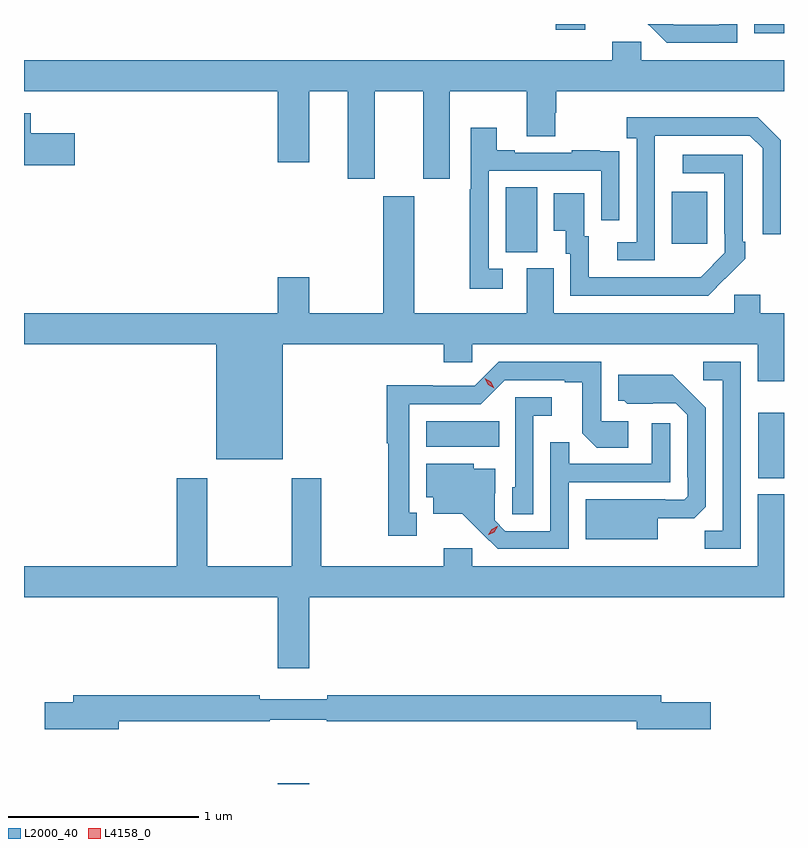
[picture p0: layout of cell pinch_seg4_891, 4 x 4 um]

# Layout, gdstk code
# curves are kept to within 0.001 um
import gdstk
lib = gdstk.Library(unit=1e-6, precision=1e-09)
def R(c, l, rs):  # rectangles x0, y0, x1, y1
    for r in rs: c.add(gdstk.rectangle(r[:2], r[2:], *l))
def P(c, l, *ps):  # polygons
    for p in ps: c.add(gdstk.Polygon(p, *l))
L2000_40 = (2000, 40)
L4158_0 = (4158, 0)

pinch_seg4_891 = lib.new_cell('pinch_seg4_891')
R(pinch_seg4_891, L2000_40, [(728.444,825.142,728.608,825.145), (730.973,826.751,731.108,827.095), (729.224,826.916,729.608,827.05), (729.644,827.941,729.808,828.284), (730.517,827.985,730.705,828.259), (730.952,829.094,731.108,829.142), (729.906,829.113,730.063,829.142)])
P(pinch_seg4_891, L2000_40, [(730.863,829.142),(730.767,829.142),(730.767,829.137),(730.53,829.137),(730.525,829.142),(730.391,829.142),(730.406,829.127),(730.49,829.044),(730.863,829.044)],
  [(728.953,828.788),(729.209,828.788),(729.209,828.327),(729.349,828.327),(729.349,828.788),(729.755,828.788),(729.755,828.55),(729.903,828.55),(729.903,828.675),(729.908,828.675),(729.908,828.788),(731.108,828.788),(731.108,828.952),(730.356,828.952),(730.356,829.048),(730.205,829.048),(730.205,828.952),(727.108,828.952),(727.108,828.788),(728.444,828.788),(728.444,828.414),(728.608,828.414),(728.608,828.788),(728.813,828.788),(728.813,828.327),(728.953,828.327)],
  [(727.375,828.568),(727.144,828.568),(727.144,828.673),(727.108,828.673),(727.108,828.398),(727.375,828.398)],
  [(730.428,828.355),(730.429,828.555),(730.929,828.555),(730.995,828.489),(730.995,828.036),(731.091,828.036),(731.091,828.531),(730.97,828.652),(730.281,828.652),(730.281,828.542),(730.332,828.542),(730.332,827.994),(730.23,827.994),(730.23,827.898),(730.428,827.898)],
  [(729.628,827.853),(729.555,827.853),(729.555,828.369),(730.146,828.369),(730.146,828.108),(730.242,828.108),(730.242,828.362),(730.241,828.362),(730.241,828.471),(730.139,828.471),(730.139,828.478),(729.991,828.478),(729.991,828.465),(729.691,828.465),(729.691,828.478),(729.595,828.478),(729.595,828.595),(729.459,828.595),(729.459,828.272),(729.454,828.272),(729.454,827.748),(729.628,827.748)],
  [(730.799,827.803),(730.8,827.802),(730.905,827.907),(730.905,827.995),(730.89,827.995),(730.89,828.453),(730.575,828.453),(730.575,828.357),(730.794,828.357),(730.794,828.037),(730.797,828.037),(730.797,827.937),(730.669,827.809),(730.081,827.808),(730.081,828.024),(730.057,828.024),(730.057,828.25),(729.896,828.25),(729.896,828.053),(729.959,828.053),(729.959,827.934),(729.984,827.934),(729.984,827.712),(730.708,827.712)],
  [(728.47,827.456),(729.317,827.456),(729.317,827.363),(729.468,827.363),(729.468,827.456),(730.97,827.456),(730.97,827.262),(731.108,827.262),(731.108,827.62),(730.984,827.62),(730.984,827.718),(730.845,827.718),(730.845,827.62),(729.895,827.62),(729.895,827.856),(729.755,827.856),(729.755,827.62),(729.163,827.62),(729.163,828.235),(728.999,828.235),(728.999,827.62),(728.608,827.62),(728.608,827.809),(728.444,827.809),(728.444,827.62),(727.108,827.62),(727.108,827.456),(728.12,827.456),(728.12,826.85),(728.47,826.85)],
  [(729.175,826.569),(729.136,826.569),(729.136,827.142),(729.513,827.142),(729.639,827.268),(729.953,827.268),(729.953,827.256),(730.047,827.256),(730.047,826.988),(730.123,826.912),(730.288,826.912),(730.288,827.052),(730.146,827.052),(730.146,827.364),(729.606,827.364),(729.48,827.238),(729.258,827.238),(729.258,827.24),(729.018,827.24),(729.018,826.935),(729.025,826.935),(729.025,826.449),(729.175,826.449)],
  [(730.881,827.364),(730.683,827.364),(730.683,827.268),(730.785,827.268),(730.785,826.475),(730.69,826.475),(730.69,826.38),(730.881,826.38)],
  [(730.444,826.541),(730.636,826.541),(730.695,826.6),(730.695,827.122),(730.523,827.296),(730.235,827.296),(730.235,827.16),(730.266,827.16),(730.282,827.144),(730.539,827.145),(730.599,827.085),(730.599,826.756),(730.602,826.756),(730.602,826.656),(730.584,826.638),(730.484,826.638),(730.484,826.642),(730.064,826.642),(730.064,826.43),(730.444,826.43)],
  [(729.789,827.081),(729.886,827.081),(729.886,827.178),(729.693,827.178),(729.693,826.704),(729.678,826.704),(729.678,826.561),(729.789,826.561)],
  [(729.975,826.731),(730.509,826.731),(730.509,827.041),(730.413,827.041),(730.413,826.827),(729.977,826.827),(729.977,826.94),(729.879,826.94),(729.879,826.473),(729.642,826.473),(729.585,826.53),(729.585,826.672),(729.589,826.672),(729.589,826.801),(729.474,826.801),(729.474,826.828),(729.224,826.828),(729.224,826.652),(729.263,826.652),(729.263,826.565),(729.415,826.565),(729.602,826.38),(729.975,826.38)],
  [(728.608,826.124),(731.108,826.124),(731.108,826.666),(730.97,826.666),(730.97,826.288),(729.468,826.288),(729.468,826.384),(729.317,826.384),(729.317,826.288),(728.673,826.288),(728.673,826.75),(728.518,826.75),(728.518,826.288),(728.073,826.288),(728.073,826.75),(727.913,826.75),(727.913,826.288),(727.108,826.288),(727.108,826.124),(728.444,826.124),(728.444,825.75),(728.608,825.75)],
  [(727.606,825.472),(728.402,825.472),(728.402,825.48),(728.702,825.48),(728.702,825.472),(730.334,825.472),(730.334,825.43),(730.723,825.43),(730.723,825.572),(730.462,825.572),(730.462,825.608),(728.704,825.608),(728.704,825.589),(728.348,825.589),(728.348,825.608),(727.367,825.608),(727.367,825.572),(727.218,825.572),(727.218,825.43),(727.606,825.43)])
P(pinch_seg4_891, L4158_0, [(729.552,826.453),(729.552,826.453),(729.57,826.483),(729.6,826.498),(729.601,826.498),(729.601,826.498),(729.583,826.468),(729.553,826.453)],
  [(729.583,827.225),(729.551,827.244),(729.533,827.277),(729.533,827.277),(729.534,827.277),(729.565,827.258),(729.583,827.225),(729.583,827.225)])

lib.write_gds('pinch_seg4_891.gds')
